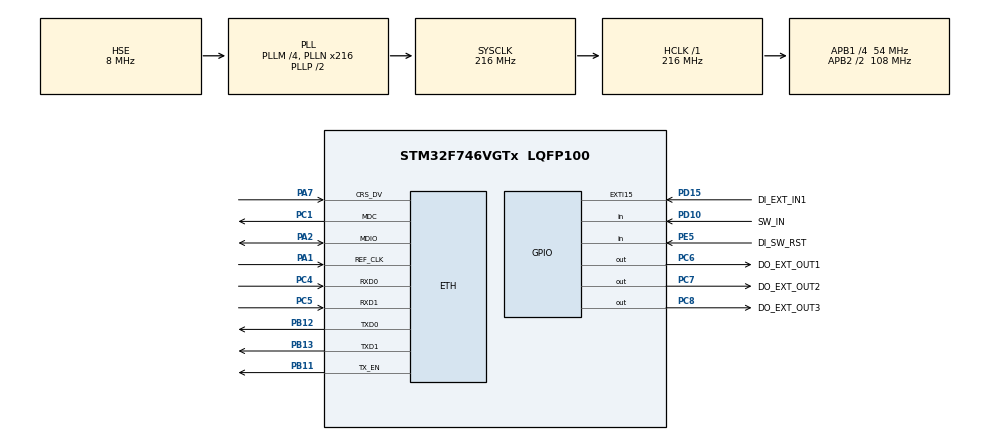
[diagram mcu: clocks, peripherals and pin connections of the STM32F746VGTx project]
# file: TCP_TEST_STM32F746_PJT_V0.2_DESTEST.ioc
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CORTEX_M7.default_mode_Activation=1
ETH.MediaInterface=HAL_ETH_RMII_MODE
FREERTOS.Tasks01=defaultTask,24,256,StartDefaultTask,Default,NULL,Dynamic,NULL,NULL;ETH_TASK,8,256,TCP_RX_DATA_TASK,As external,NULL,Dynamic,NULL,NULL
FREERTOS.configTOTAL_HEAP_SIZE=65535
FREERTOS.configUSE_NEWLIB_REENTRANT=1
LWIP.BSP.number=1
LWIP.GATEWAY_ADDRESS=192.168.000.001
LWIP.IP_ADDRESS=192.168.000.020
LWIP.LWIP_DHCP=0
LWIP.MEMP_NUM_TCP_SEG=15
LWIP.MEM_SIZE=8000
LWIP.NETMASK_ADDRESS=255.255.255.000
LWIP.PBUF_POOL_BUFSIZE=1482
LWIP.TCPIP_THREAD_PRIO=3
LWIP.TCP_MSS=1426
LWIP.TCP_SND_BUF=5000
LWIP.Version=v2.1.2_Cube
LWIP0.BSP.STBoard=false
LWIP0.BSP.api=BSP_COMPONENT_DRIVER
LWIP0.BSP.component=DP83848
LWIP0.BSP.instance=DP83848
LWIP0.BSP.name=Driver_PHY
LWIP0.BSP.semaphore=S_DP83848
LWIP0.BSP.solution=DP83848
Mcu.Family=STM32F7
Mcu.Name=STM32F746VGTx
Mcu.Package=LQFP100
NVIC.ETH_IRQn=true\:5\:0\:false\:false\:true\:true\:false\:true\:true
NVIC.PriorityGroup=NVIC_PRIORITYGROUP_4
NVIC.TIM1_UP_TIM10_IRQn=true\:15\:0\:false\:false\:true\:false\:false\:true\:true
NVIC.TimeBase=TIM1_UP_TIM10_IRQn
NVIC.TimeBaseIP=TIM1
PA1.Mode=RMII
PA1.Signal=ETH_REF_CLK
PA13.Mode=JTAG_4_pins
PA13.Signal=SYS_JTMS-SWDIO
PA14.Mode=JTAG_4_pins
PA14.Signal=SYS_JTCK-SWCLK
PA15.Mode=JTAG_4_pins
PA15.Signal=SYS_JTDI
PA2.Mode=RMII
PA2.Signal=ETH_MDIO
PA7.Mode=RMII
PA7.Signal=ETH_CRS_DV
PB11.Mode=RMII
PB11.Signal=ETH_TX_EN
PB12.Mode=RMII
PB12.Signal=ETH_TXD0
PB13.Mode=RMII
PB13.Signal=ETH_TXD1
PB3.Mode=JTAG_4_pins
PB3.Signal=SYS_JTDO-SWO
PC1.Mode=RMII
PC1.Signal=ETH_MDC
PC14/OSC32_IN.Mode=LSE-External-Oscillator
PC14/OSC32_IN.Signal=RCC_OSC32_IN
PC15/OSC32_OUT.Mode=LSE-External-Oscillator
PC15/OSC32_OUT.Signal=RCC_OSC32_OUT
PC4.Mode=RMII
PC4.Signal=ETH_RXD0
PC5.Mode=RMII
PC5.Signal=ETH_RXD1
PC6.GPIO_Label=DO_EXT_OUT1
PC6.Signal=GPIO_Output
PC7.GPIO_Label=DO_EXT_OUT2
PC7.Signal=GPIO_Output
PC8.GPIO_Label=DO_EXT_OUT3
PC8.Signal=GPIO_Output
PD10.GPIO_Label=SW_IN
PD10.Signal=GPIO_Input
PD15.GPIO_Label=DI_EXT_IN1
PD15.Signal=GPXTI15
PE5.GPIO_Label=DI_SW_RST
PE5.Signal=GPIO_Input
PH0/OSC_IN.Mode=HSE-External-Oscillator
PH0/OSC_IN.Signal=RCC_OSC_IN
PH1/OSC_OUT.Mode=HSE-External-Oscillator
PH1/OSC_OUT.Signal=RCC_OSC_OUT
ProjectManager.HeapSize=0x400
ProjectManager.StackSize=0x800
ProjectManager.TargetToolchain=STM32CubeIDE
RCC.AHBFreq_Value=216000000
RCC.APB1CLKDivider=RCC_HCLK_DIV4
RCC.APB1Freq_Value=54000000
RCC.APB1TimFreq_Value=108000000
RCC.APB2CLKDivider=RCC_HCLK_DIV2
RCC.APB2Freq_Value=108000000
RCC.APB2TimFreq_Value=216000000
RCC.CortexFreq_Value=216000000
RCC.HCLKFreq_Value=216000000
RCC.HSE_VALUE=8000000
RCC.HSI_VALUE=16000000
RCC.PLLM=4
RCC.PLLN=216
RCC.PLLSourceVirtual=RCC_PLLSOURCE_HSE
RCC.SYSCLKFreq_VALUE=216000000
RCC.SYSCLKSource=RCC_SYSCLKSOURCE_PLLCLK
RCC.USBFreq_Value=216000000
RCC.VCOOutputFreq_Value=432000000
VP_FREERTOS_VS_CMSIS_V2.Mode=CMSIS_V2
VP_LWIP_VS_Enabled.Mode=Enabled
VP_MBEDTLS_VS_MBEDTLS.Mode=Enabled
VP_SYS_VS_tim1.Mode=TIM1
board=custom

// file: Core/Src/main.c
/* USER CODE BEGIN Header */
/**
  ******************************************************************************
  * @file           : main.c
  * @brief          : Main program body
  ******************************************************************************
  * @attention
  *
  * Copyright (c) 2024 STMicroelectronics.
  * All rights reserved.
  *
  * This software is licensed under terms that can be found in the LICENSE file
  * in the root directory of this software component.
  * If no LICENSE file comes with this software, it is provided AS-IS.
  *
  ******************************************************************************
  */
/* USER CODE END Header */
#include "main.h"
#include "cmsis_os.h"
#include "mbedtls.h"
#include "mbedtls/des.h"
#include "string.h"

/* USER CODE BEGIN Includes */
#include "../Source/TCP_TEST_STM32F746_FW.h"
/* USER CODE END Includes */

/* USER CODE BEGIN PD */
uint8_t key[8] = "01232597"; // DES키
uint8_t iv[8] = "abcdef01"; // 초기화 벡터
/* USER CODE END PD */

/* USER CODE BEGIN PM */
void des_encrypt(uint8_t *input, uint8_t *output) {
    mbedtls_des_context ctx;
    mbedtls_des_init(&ctx);

    // 암호화 키 설정
    mbedtls_des_setkey_enc(&ctx, key);

    // CBC 모드에서 암호화 수행
    mbedtls_des_crypt_cbc(&ctx, MBEDTLS_DES_ENCRYPT, 8, iv, input, output);

    mbedtls_des_free(&ctx);
}

// DES 복호화 함수
void des_decrypt(uint8_t *input, uint8_t *output) {
    mbedtls_des_context ctx;
    mbedtls_des_init(&ctx);

    // 복호화 키 설정
    mbedtls_des_setkey_dec(&ctx, key);

    // CBC 모드에서 복호화 수행
    mbedtls_des_crypt_cbc(&ctx, MBEDTLS_DES_DECRYPT, 8, iv, input, output);

    mbedtls_des_free(&ctx);
}
/* USER CODE END PM */

/* Definitions for defaultTask */
osThreadId_t defaultTaskHandle;
const osThreadAttr_t defaultTask_attributes = {
  .name = "defaultTask",
  .stack_size = 256 * 4,
  .priority = (osPriority_t) osPriorityNormal,
};
/* Definitions for ETH_TASK */
osThreadId_t ETH_TASKHandle;
const osThreadAttr_t ETH_TASK_attributes = {
  .name = "ETH_TASK",
  .stack_size = 256 * 4,
  .priority = (osPriority_t) osPriorityLow,
};

void SystemClock_Config(void);
static void MPU_Config(void);
static void MX_GPIO_Init(void);
void StartDefaultTask(void *argument);
extern void TCP_RX_DATA_TASK(void *argument);

int main(void)
{

  /* MPU Configuration--------------------------------------------------------*/
  MPU_Config();

  /* MCU Configuration--------------------------------------------------------*/

  /* Reset of all peripherals, Initializes the Flash interface and the Systick. */
  HAL_Init();

  /* Configure the system clock */
  SystemClock_Config();

  /* Initialize all configured peripherals */
  MX_GPIO_Init();
  /* Call PreOsInit function */
  MX_MBEDTLS_Init();

  /* Init scheduler */
  osKernelInitialize();

  /* Create the thread(s) */
  /* creation of defaultTask */
  defaultTaskHandle = osThreadNew(StartDefaultTask, NULL, &defaultTask_attributes);

  /* creation of ETH_TASK */
  ETH_TASKHandle = osThreadNew(TCP_RX_DATA_TASK, NULL, &ETH_TASK_attributes);

  /* Start scheduler */
  osKernelStart();

  /* We should never get here as control is now taken by the scheduler */

  /* Infinite loop */
  while (1)
  {

  }
}

void SystemClock_Config(void)
{
  RCC_OscInitTypeDef RCC_OscInitStruct = {0};
  RCC_ClkInitTypeDef RCC_ClkInitStruct = {0};

  /** Configure LSE Drive Capability
  */
  HAL_PWR_EnableBkUpAccess();

  /** Configure the main internal regulator output voltage
  */
  __HAL_RCC_PWR_CLK_ENABLE();
  __HAL_PWR_VOLTAGESCALING_CONFIG(PWR_REGULATOR_VOLTAGE_SCALE1);

  /** Initializes the RCC Oscillators according to the specified parameters
  * in the RCC_OscInitTypeDef structure.
  */
  RCC_OscInitStruct.OscillatorType = RCC_OSCILLATORTYPE_HSE;
  RCC_OscInitStruct.HSEState = RCC_HSE_ON;
  RCC_OscInitStruct.PLL.PLLState = RCC_PLL_ON;
  RCC_OscInitStruct.PLL.PLLSource = RCC_PLLSOURCE_HSE;
  RCC_OscInitStruct.PLL.PLLM = 4;
  RCC_OscInitStruct.PLL.PLLN = 216;
  RCC_OscInitStruct.PLL.PLLP = RCC_PLLP_DIV2;
  RCC_OscInitStruct.PLL.PLLQ = 2;
  if (HAL_RCC_OscConfig(&RCC_OscInitStruct) != HAL_OK)
  {
    Error_Handler();
  }

  /** Activate the Over-Drive mode
  */
  if (HAL_PWREx_EnableOverDrive() != HAL_OK)
  {
    Error_Handler();
  }

  /** Initializes the CPU, AHB and APB buses clocks
  */
  RCC_ClkInitStruct.ClockType = RCC_CLOCKTYPE_HCLK|RCC_CLOCKTYPE_SYSCLK
                              |RCC_CLOCKTYPE_PCLK1|RCC_CLOCKTYPE_PCLK2;
  RCC_ClkInitStruct.SYSCLKSource = RCC_SYSCLKSOURCE_PLLCLK;
  RCC_ClkInitStruct.AHBCLKDivider = RCC_SYSCLK_DIV1;
  RCC_ClkInitStruct.APB1CLKDivider = RCC_HCLK_DIV4;
  RCC_ClkInitStruct.APB2CLKDivider = RCC_HCLK_DIV2;

  if (HAL_RCC_ClockConfig(&RCC_ClkInitStruct, FLASH_LATENCY_7) != HAL_OK)
  {
    Error_Handler();
  }
}

static void MX_GPIO_Init(void)
{
  GPIO_InitTypeDef GPIO_InitStruct = {0};

  /* GPIO Ports Clock Enable */
  __HAL_RCC_GPIOE_CLK_ENABLE();
  __HAL_RCC_GPIOC_CLK_ENABLE();
  __HAL_RCC_GPIOH_CLK_ENABLE();
  __HAL_RCC_GPIOA_CLK_ENABLE();
  __HAL_RCC_GPIOB_CLK_ENABLE();
  __HAL_RCC_GPIOD_CLK_ENABLE();

  /*Configure GPIO pin Output Level */
  HAL_GPIO_WritePin(GPIOC, DO_EXT_OUT1_Pin|DO_EXT_OUT2_Pin|DO_EXT_OUT3_Pin, GPIO_PIN_RESET);

  /*Configure GPIO pin : DI_SW_RST_Pin */
  GPIO_InitStruct.Pin = DI_SW_RST_Pin;
  GPIO_InitStruct.Mode = GPIO_MODE_INPUT;
  GPIO_InitStruct.Pull = GPIO_NOPULL;
  HAL_GPIO_Init(DI_SW_RST_GPIO_Port, &GPIO_InitStruct);

  /*Configure GPIO pin : SW_IN_Pin */
  GPIO_InitStruct.Pin = SW_IN_Pin;
  GPIO_InitStruct.Mode = GPIO_MODE_INPUT;
  GPIO_InitStruct.Pull = GPIO_NOPULL;
  HAL_GPIO_Init(SW_IN_GPIO_Port, &GPIO_InitStruct);

  /*Configure GPIO pin : DI_EXT_IN1_Pin */
  GPIO_InitStruct.Pin = DI_EXT_IN1_Pin;
  GPIO_InitStruct.Mode = GPIO_MODE_IT_RISING;
  GPIO_InitStruct.Pull = GPIO_NOPULL;
  HAL_GPIO_Init(DI_EXT_IN1_GPIO_Port, &GPIO_InitStruct);

  /*Configure GPIO pins : DO_EXT_OUT1_Pin DO_EXT_OUT2_Pin DO_EXT_OUT3_Pin */
  GPIO_InitStruct.Pin = DO_EXT_OUT1_Pin|DO_EXT_OUT2_Pin|DO_EXT_OUT3_Pin;
  GPIO_InitStruct.Mode = GPIO_MODE_OUTPUT_PP;
  GPIO_InitStruct.Pull = GPIO_NOPULL;
  GPIO_InitStruct.Speed = GPIO_SPEED_FREQ_LOW;
  HAL_GPIO_Init(GPIOC, &GPIO_InitStruct);

}

/* USER CODE BEGIN 4 */
#if 0
/* USER CODE END 4 */

void StartDefaultTask(void *argument)
{
  /* USER CODE BEGIN 5 */
#endif

/* USER CODE BEGIN Header_StartDefaultTask */
/**
* @brief  Function implementing the defaultTask thread.
* @param  argument: Not used
* @retval None
*/
/* USER CODE END Header_StartDefaultTask */

uint64_t MAIN_CNT = 0;

void StartDefaultTask(void *argument)
{
  /* init code for LWIP */
  MX_LWIP_Init();

  uint8_t input[8] = {1,2,3,4,5,6,7,8};  // 8바이트 평문
  uint8_t encrypted[8];  // 암호문
  uint8_t decrypted[8];  // 복호화된 데이터

 // DES 암호화
  des_encrypt(input, encrypted);

  des_decrypt(encrypted, decrypted);

  Modbus.u.Header.Alert = 0x00;
  Modbus.u.Header.Temperature = 2000;
  Modbus.u.Header.Humidity = 2000;
  Modbus.u.Header.WarningStandard = 10000;
  Modbus.u.Header.GUI = 2000;
	/* Infinite loop */
  for(;;)
  {
	osDelay(10);
    Task_Schedule();
    Task_Schedule_FreeRun();
	MAIN_CNT++;
  }
  /* USER CODE END 5 */
}

 /* MPU Configuration */

void MPU_Config(void)
{
  MPU_Region_InitTypeDef MPU_InitStruct = {0};

  /* Disables the MPU */
  HAL_MPU_Disable();

  /** Initializes and configures the Region and the memory to be protected
  */
  MPU_InitStruct.Enable = MPU_REGION_ENABLE;
  MPU_InitStruct.Number = MPU_REGION_NUMBER0;
  MPU_InitStruct.BaseAddress = 0x0;
  MPU_InitStruct.Size = MPU_REGION_SIZE_4GB;
  MPU_InitStruct.SubRegionDisable = 0x87;
  MPU_InitStruct.TypeExtField = MPU_TEX_LEVEL0;
  MPU_InitStruct.AccessPermission = MPU_REGION_NO_ACCESS;
  MPU_InitStruct.DisableExec = MPU_INSTRUCTION_ACCESS_DISABLE;
  MPU_InitStruct.IsShareable = MPU_ACCESS_SHAREABLE;
  MPU_InitStruct.IsCacheable = MPU_ACCESS_NOT_CACHEABLE;
  MPU_InitStruct.IsBufferable = MPU_ACCESS_NOT_BUFFERABLE;

  HAL_MPU_ConfigRegion(&MPU_InitStruct);
  /* Enables the MPU */
  HAL_MPU_Enable(MPU_PRIVILEGED_DEFAULT);

}

void HAL_TIM_PeriodElapsedCallback(TIM_HandleTypeDef *htim)
{
  if (htim->Instance == TIM1) {
    HAL_IncTick();
  }
}

void Error_Handler(void)
{
  __disable_irq();
  while (1)
  {
  }
}
